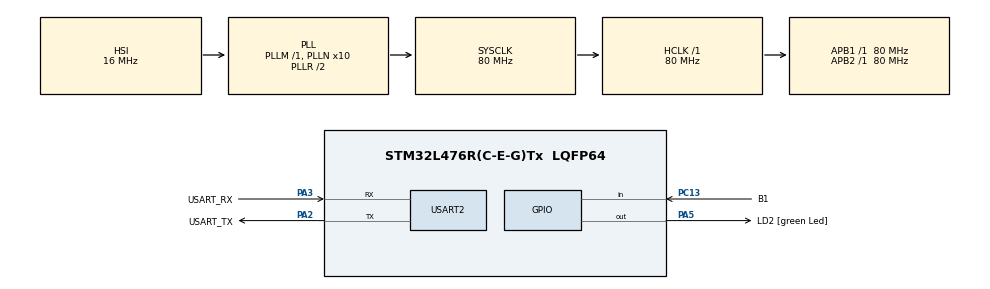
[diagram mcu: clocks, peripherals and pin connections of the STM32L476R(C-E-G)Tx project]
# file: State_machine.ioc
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Mcu.Family=STM32L4
Mcu.Name=STM32L476R(C-E-G)Tx
Mcu.Package=LQFP64
NVIC.PriorityGroup=NVIC_PRIORITYGROUP_4
PA13\ (JTMS-SWDIO).GPIO_Label=TMS
PA13\ (JTMS-SWDIO).Mode=Serial_Wire
PA13\ (JTMS-SWDIO).Signal=SYS_JTMS-SWDIO
PA14\ (JTCK-SWCLK).GPIO_Label=TCK
PA14\ (JTCK-SWCLK).Mode=Serial_Wire
PA14\ (JTCK-SWCLK).Signal=SYS_JTCK-SWCLK
PA2.GPIO_Label=USART_TX
PA2.GPIO_Mode=GPIO_MODE_AF_PP
PA2.GPIO_PuPd=GPIO_NOPULL
PA2.GPIO_Speed=GPIO_SPEED_FREQ_VERY_HIGH
PA2.Mode=Asynchronous
PA2.Signal=USART2_TX
PA3.GPIO_Label=USART_RX
PA3.GPIO_Mode=GPIO_MODE_AF_PP
PA3.GPIO_PuPd=GPIO_NOPULL
PA3.GPIO_Speed=GPIO_SPEED_FREQ_VERY_HIGH
PA3.Mode=Asynchronous
PA3.Signal=USART2_RX
PA5.GPIO_Label=LD2 [green Led]
PA5.GPIO_ModeDefaultOutputPP=GPIO_MODE_OUTPUT_PP
PA5.GPIO_PuPd=GPIO_NOPULL
PA5.GPIO_Speed=GPIO_SPEED_FREQ_LOW
PA5.Signal=GPIO_Output
PB3\ (JTDO-TRACESWO).GPIO_Label=SWO
PB3\ (JTDO-TRACESWO).Signal=SYS_JTDO-SWO
PC13.GPIO_Label=B1
PC13.Signal=GPIO_Input
PC14-OSC32_IN\ (PC14).Mode=LSE-External-Oscillator
PC14-OSC32_IN\ (PC14).Signal=RCC_OSC32_IN
PC15-OSC32_OUT\ (PC15).Mode=LSE-External-Oscillator
PC15-OSC32_OUT\ (PC15).Signal=RCC_OSC32_OUT
PH0-OSC_IN\ (PH0).Signal=RCC_OSC_IN
PH1-OSC_OUT\ (PH1).Signal=RCC_OSC_OUT
ProjectManager.HeapSize=0x200
ProjectManager.StackSize=0x400
ProjectManager.TargetToolchain=STM32CubeIDE
RCC.ADCFreq_Value=64000000
RCC.AHBFreq_Value=80000000
RCC.APB1Freq_Value=80000000
RCC.APB1TimFreq_Value=80000000
RCC.APB2Freq_Value=80000000
RCC.APB2TimFreq_Value=80000000
RCC.CortexFreq_Value=80000000
RCC.HCLKFreq_Value=80000000
RCC.HSE_VALUE=8000000
RCC.HSI_VALUE=16000000
RCC.MSI_VALUE=4000000
RCC.PLLN=10
RCC.PLLSourceVirtual=RCC_PLLSOURCE_HSI
RCC.PREFETCH_ENABLE=1
RCC.SYSCLKFreq_VALUE=80000000
RCC.SYSCLKSource=RCC_SYSCLKSOURCE_PLLCLK
RCC.USBFreq_Value=64000000
RCC.VCOOutputFreq_Value=160000000
USART2.VirtualMode-Asynchronous=VM_ASYNC
board=NUCLEO-L476RG

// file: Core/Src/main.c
/* USER CODE BEGIN Header */
/**
  ******************************************************************************
  * @file           : main.c
  * @brief          : Main program body
  ******************************************************************************
  * @attention
  *
  * Copyright (c) 2024 STMicroelectronics.
  * All rights reserved.
  *
  * This software is licensed under terms that can be found in the LICENSE file
  * in the root directory of this software component.
  * If no LICENSE file comes with this software, it is provided AS-IS.
  *
  ******************************************************************************
  */
/* USER CODE END Header */
#include "main.h"
#include "usart.h"
#include "gpio.h"

/* USER CODE BEGIN Includes */
#include "button.h"
/* USER CODE END Includes */

/* USER CODE BEGIN PV */
TButton BlueKey;
/* USER CODE END PV */

void SystemClock_Config(void);
/* USER CODE BEGIN PFP */
void TurnOnLed(void);
void TurnOffLed(void);
void ToggleLed(void);
/* USER CODE END PFP */

int main(void)
{

  /* MCU Configuration--------------------------------------------------------*/

  /* Reset of all peripherals, Initializes the Flash interface and the Systick. */
  HAL_Init();

  /* Configure the system clock */
  SystemClock_Config();

  /* Initialize all configured peripherals */
  MX_GPIO_Init();
  MX_USART2_UART_Init();
  /* USER CODE BEGIN 2 */
  ButtonInitKey(&BlueKey, B1_GPIO_Port, B1_Pin, 50, 2000, 500);
  ButtonRegisterPressCallback(&BlueKey, TurnOnLed);
  ButtonRegisterLongPressCallback(&BlueKey, TurnOffLed);
  ButtonRegisterRepeatCallback(&BlueKey, ToggleLed);
  /* USER CODE END 2 */

  /* Infinite loop */
  /* USER CODE BEGIN WHILE */
  while (1)
  {
	  ButtonTask(&BlueKey);

    /* USER CODE END WHILE */

  }
}

void SystemClock_Config(void)
{
  RCC_OscInitTypeDef RCC_OscInitStruct = {0};
  RCC_ClkInitTypeDef RCC_ClkInitStruct = {0};

  /** Configure the main internal regulator output voltage
  */
  if (HAL_PWREx_ControlVoltageScaling(PWR_REGULATOR_VOLTAGE_SCALE1) != HAL_OK)
  {
    Error_Handler();
  }

  /** Initializes the RCC Oscillators according to the specified parameters
  * in the RCC_OscInitTypeDef structure.
  */
  RCC_OscInitStruct.OscillatorType = RCC_OSCILLATORTYPE_HSI;
  RCC_OscInitStruct.HSIState = RCC_HSI_ON;
  RCC_OscInitStruct.HSICalibrationValue = RCC_HSICALIBRATION_DEFAULT;
  RCC_OscInitStruct.PLL.PLLState = RCC_PLL_ON;
  RCC_OscInitStruct.PLL.PLLSource = RCC_PLLSOURCE_HSI;
  RCC_OscInitStruct.PLL.PLLM = 1;
  RCC_OscInitStruct.PLL.PLLN = 10;
  RCC_OscInitStruct.PLL.PLLP = RCC_PLLP_DIV7;
  RCC_OscInitStruct.PLL.PLLQ = RCC_PLLQ_DIV2;
  RCC_OscInitStruct.PLL.PLLR = RCC_PLLR_DIV2;
  if (HAL_RCC_OscConfig(&RCC_OscInitStruct) != HAL_OK)
  {
    Error_Handler();
  }

  /** Initializes the CPU, AHB and APB buses clocks
  */
  RCC_ClkInitStruct.ClockType = RCC_CLOCKTYPE_HCLK|RCC_CLOCKTYPE_SYSCLK
                              |RCC_CLOCKTYPE_PCLK1|RCC_CLOCKTYPE_PCLK2;
  RCC_ClkInitStruct.SYSCLKSource = RCC_SYSCLKSOURCE_PLLCLK;
  RCC_ClkInitStruct.AHBCLKDivider = RCC_SYSCLK_DIV1;
  RCC_ClkInitStruct.APB1CLKDivider = RCC_HCLK_DIV1;
  RCC_ClkInitStruct.APB2CLKDivider = RCC_HCLK_DIV1;

  if (HAL_RCC_ClockConfig(&RCC_ClkInitStruct, FLASH_LATENCY_4) != HAL_OK)
  {
    Error_Handler();
  }
}

/* USER CODE BEGIN 4 */
void TurnOnLed(void){
	HAL_GPIO_WritePin(LD2_GPIO_Port, LD2_Pin, GPIO_PIN_SET);
}

void TurnOffLed(void){
	HAL_GPIO_WritePin(LD2_GPIO_Port, LD2_Pin, GPIO_PIN_RESET);
}

void ToggleLed(void) {
	HAL_GPIO_TogglePin(LD2_GPIO_Port, LD2_Pin);
}
/* USER CODE END 4 */

void Error_Handler(void)
{
  __disable_irq();
  while (1)
  {
  }
}
